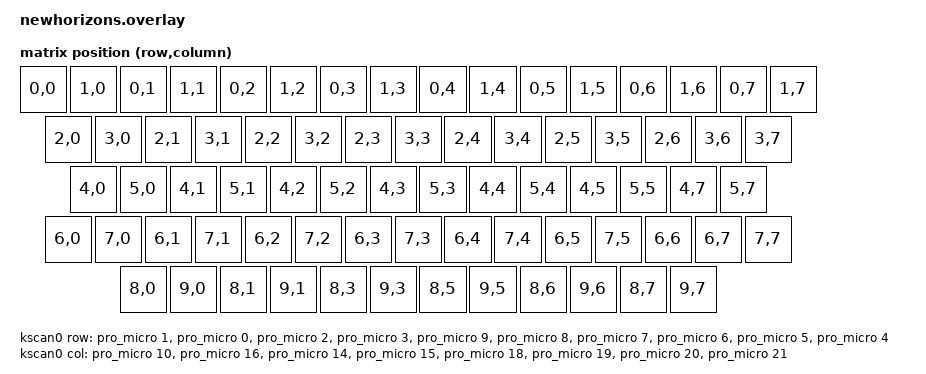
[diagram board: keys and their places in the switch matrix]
/*
 * Copyright (c) 2020 The ZMK Contributors
 *
 * SPDX-License-Identifier: MIT
 */

#include <dt-bindings/zmk/matrix_transform.h>

/ {
    chosen {
        zmk,kscan = &kscan0;
        zmk,matrix_transform = &default_transform;
    };

    default_transform: keymap_transform_0 {
        compatible = "zmk,matrix-transform";
        rows = <5>;
        columns = <16>;

        map = <
            RC(0,0) RC(1,0) RC(0,1) RC(1,1) RC(0,2) RC(1,2) RC(0,3) RC(1,3) RC(0,4) RC(1,4) RC(0,5) RC(1,5) RC(0,6) RC(1,6) RC(0,7) RC(1,7)
              RC(2,0)  RC(3,0) RC(2,1) RC(3,1) RC(2,2) RC(3,2) RC(2,3) RC(3,3) RC(2,4) RC(3,4) RC(2,5) RC(3,5) RC(2,6)   RC(3,6)    RC(3,7)
               RC(4,0)  RC(5,0) RC(4,1) RC(5,1) RC(4,2) RC(5,2) RC(4,3) RC(5,3) RC(4,4) RC(5,4) RC(4,5) RC(5,5)       RC(4,7)       RC(5,7)
             RC(6,0)  RC(7,0) RC(6,1) RC(7,1) RC(6,2) RC(7,2) RC(6,3) RC(7,3) RC(6,4) RC(7,4) RC(6,5) RC(7,5)    RC(6,6)    RC(6,7) RC(7,7)
            RC(8,0)  RC(9,0)  RC(8,1)          RC(9,1)         RC(8,3)        RC(9,3)       RC(8,5) RC(9,5) RC(8,6) RC(9,6) RC(8,7) RC(9,7)
        >;
    };


    kscan0: kscan_0 {
        compatible = "zmk,kscan-gpio-matrix";
        label = "KSCAN";
        diode-direction = "row2col";

        row-gpios
            = <&pro_micro 1 GPIO_ACTIVE_HIGH> // row 0
            , <&pro_micro 0 GPIO_ACTIVE_HIGH> // row 1
            , <&pro_micro 2 GPIO_ACTIVE_HIGH> // row 2
            , <&pro_micro 3 GPIO_ACTIVE_HIGH> // row 3
            , <&pro_micro 9 GPIO_ACTIVE_HIGH> // row 4
            , <&pro_micro 8 GPIO_ACTIVE_HIGH> // row 5
            , <&pro_micro 7 GPIO_ACTIVE_HIGH> // row 6
            , <&pro_micro 6 GPIO_ACTIVE_HIGH> // row 7
            , <&pro_micro 5 GPIO_ACTIVE_HIGH> // row 8
            , <&pro_micro 4 GPIO_ACTIVE_HIGH> // row 9
            ;

        col-gpios
            = <&pro_micro 10 (GPIO_ACTIVE_HIGH | GPIO_PULL_DOWN)> // col 0
            , <&pro_micro 16 (GPIO_ACTIVE_HIGH | GPIO_PULL_DOWN)> // col 1
            , <&pro_micro 14 (GPIO_ACTIVE_HIGH | GPIO_PULL_DOWN)> // col 2
            , <&pro_micro 15 (GPIO_ACTIVE_HIGH | GPIO_PULL_DOWN)> // col 3
            , <&pro_micro 18 (GPIO_ACTIVE_HIGH | GPIO_PULL_DOWN)> // col 4
            , <&pro_micro 19 (GPIO_ACTIVE_HIGH | GPIO_PULL_DOWN)> // col 5
            , <&pro_micro 20 (GPIO_ACTIVE_HIGH | GPIO_PULL_DOWN)> // col 6
            , <&pro_micro 21 (GPIO_ACTIVE_HIGH | GPIO_PULL_DOWN)> // col 7
            ;
    };
};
